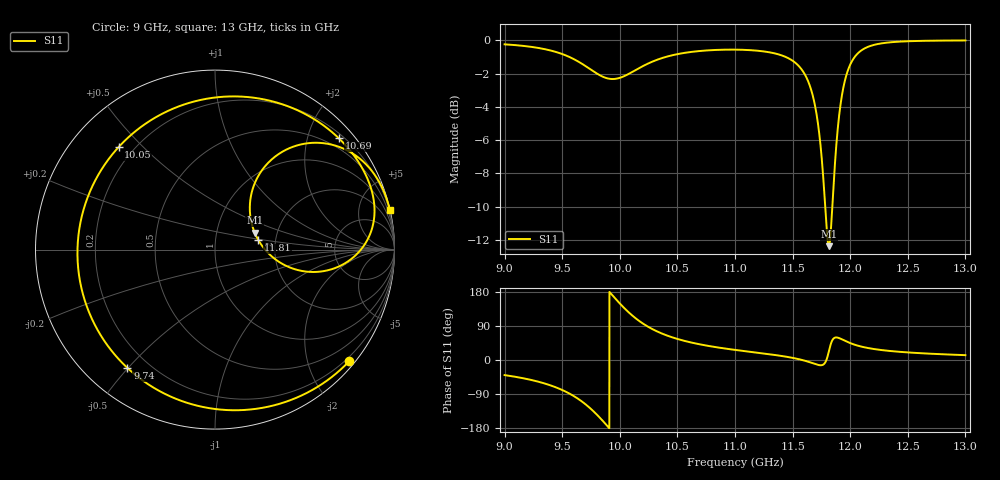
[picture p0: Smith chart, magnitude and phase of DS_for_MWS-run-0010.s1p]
! TOUCHSTONE file generated by CST DESIGN STUDIO
! Date and time: Tue Feb  4 17:20:19 2025
! Project name: C:\Work\MatlabApps\UnitCellOptimizationMatlab\CST\unitcell.cst
! Tree item: Tasks\Sweep1\SPara1\S-Parameters
! Header version: 2024
! Port assignment regex: !\s*Touchstone port\s*([0-9]+)\s*=\s*(CST MWS port|CST DES external port|CST DES block port)\s*(.+)\s* \(\"(.*)\"\)(\s*mode\s*([0-9]+))?.*
! Touchstone port assignment:
! Touchstone port 1 = CST DES external port 1 ("")
# GHz S MA R 50
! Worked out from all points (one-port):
!   4001 points, 9 GHz to 13 GHz, reference 50 ohm
!   lowest |S11| = -12.4 dB at 11.81 GHz (marker M1), VSWR 1.63, Z = 76.6 + j15.3 ohm
!   |S11| at or under -10 dB: 11.78 GHz to 11.84 GHz (61.64 MHz wide, 0.522 % of centre)
!   S11 on the Smith chart (normalised r, x): 9 GHz: 0.12, -2.75; 9.74 GHz: 0.12, -0.50; 10.05 GHz: 0.14, +0.42; 10.69 GHz: 0.29, +2.58; 11.81 GHz: 1.63, +0.18; 13 GHz: 0.05, +8.92
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9  0.9724 -39.9
9.281  0.9498 -56.3
9.5  0.9092 -79.2
9.632  0.866 -101.2
9.74  0.8201 -126.6
9.815  0.7892 -148.6
9.877  0.7711 -169.0
9.937  0.7647 170.3
10  0.771 149.2
10.051  0.784 133.3
10.134  0.8125 110.9
10.226  0.845 91.3
10.358  0.8822 70.8
10.5  0.9085 55.6
10.685  0.9278 41.9
11  0.9374 26.7
11.5  0.8681 5.7
11.61  0.7853 -2.2
11.692  0.6427 -10.2
11.754  0.4371 -13.6
11.806  0.2476 12.1
11.815  0.2405 23.1
11.857  0.3732 57.0
11.907  0.6062 57.5
12  0.8448 44.6
12.176  0.9617 30.4
12.5  0.9934 20.0
13  0.9988 12.8
